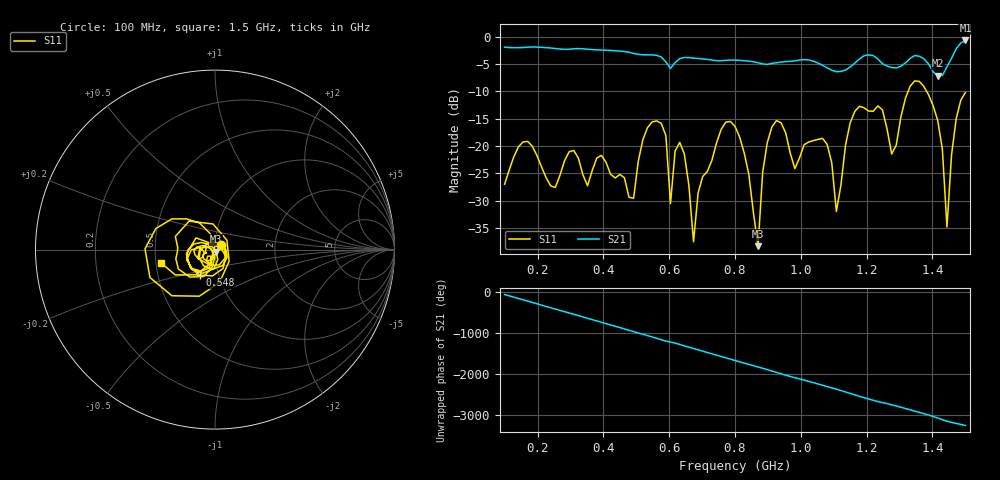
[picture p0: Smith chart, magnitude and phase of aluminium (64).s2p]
! NanoVNA-App
! Date: 2025-09-26 09:58:33
! Start: 100MHz Stop: 1,5GHz Points: 101
! S-Parameter data: F S11 S21 S12 S22
# Hz S RI R 50
!  Frequency  S11_Real  S11_Imag  S21_Real  S21_Imag  S12_Real  S12_Imag  S22_Real  S22_Imag
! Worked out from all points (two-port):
!   101 points, 100 MHz to 1.5 GHz, reference 50 ohm
!   highest |S21| = -0.69 dB at 1.5 GHz (marker M1); lowest = -7.1 dB at 1.416 GHz (marker M2)
!   |S21| within 3 dB of the highest: start of sweep to 574.9 MHz; 1.187 GHz to 1.225 GHz (38.18 MHz wide, 3.17 % of centre) (the widest 2 of 4)
!   lowest |S11| = -38.3 dB at 870 MHz (marker M3), VSWR 1.02, Z = 50.6 - j1.08 ohm
!   |S11| at or under -10 dB: start of sweep to 1.326 GHz; 1.382 GHz to end of sweep
!   S12 and S22 are empty: the file has one direction only
!   S11 on the Smith chart (normalised r, x): 100 MHz: 1.07, +0.06; 548 MHz: 0.81, -0.24; 1.5 GHz: 0.53, -0.09
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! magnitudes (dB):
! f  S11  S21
! 100 MHz  -27.0  -1.9
! 156 MHz  -19.2  -2.0
! 338 MHz  -25.3  -2.2
! 492 MHz  -29.5  -3.1
! 548 MHz  -15.6  -3.3
! 576 MHz  -15.8  -3.7
! 604 MHz  -30.5  -5.8
! 646 MHz  -21.4  -3.8
! 674 MHz  -37.5  -3.9
! 702 MHz  -25.5  -4.1
! 800 MHz  -16.4  -4.3
! 870 MHz  -38.3  -4.8
! 912 MHz  -16.5  -4.9
! 1.038 GHz  -19.0  -4.5
! 1.108 GHz  -32.0  -6.4
! 1.178 GHz  -12.7  -4.1
! 1.276 GHz  -21.4  -5.6
! 1.346 GHz  -8.1  -3.5
! 1.416 GHz  -15.3  -7.1
! 1.444 GHz  -34.8  -5.5
! 1.472 GHz  -15.0  -2.2
! 1.5 GHz  -10.2  -0.7
